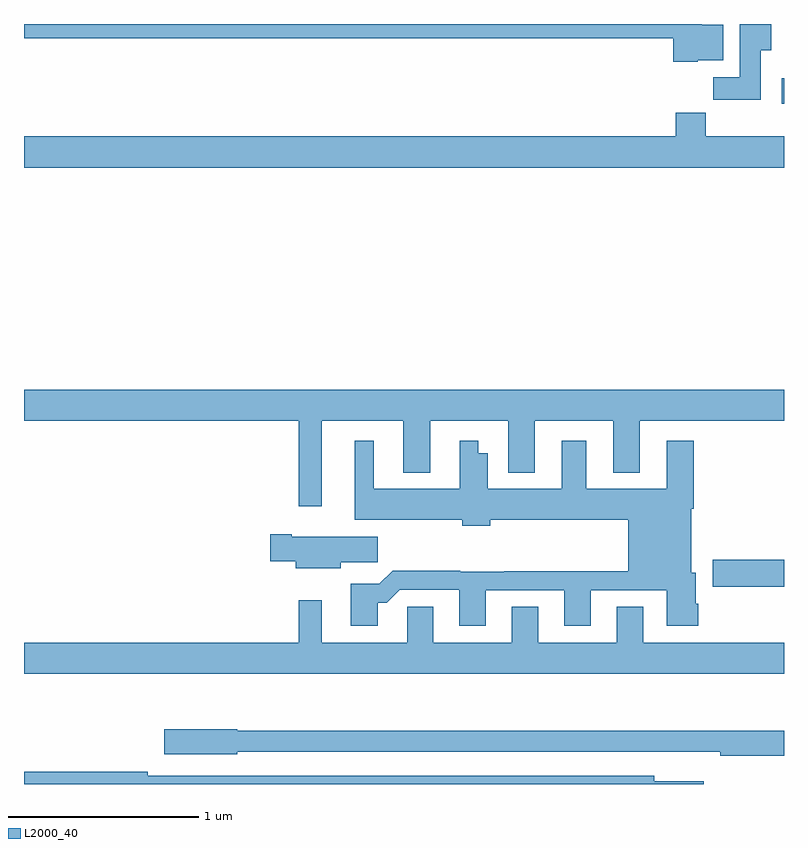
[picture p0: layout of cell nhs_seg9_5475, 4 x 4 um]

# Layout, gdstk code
import gdstk
lib = gdstk.Library(unit=1e-6, precision=1e-09)
def R(c, l, rs):  # rectangles x0, y0, x1, y1
    for r in rs: c.add(gdstk.rectangle(r[:2], r[2:], *l))
def P(c, l, *ps):  # polygons
    for p in ps: c.add(gdstk.Polygon(p, *l))
L2000_40 = (2000, 40)

nhs_seg9_5475 = lib.new_cell('nhs_seg9_5475')
R(nhs_seg9_5475, L2000_40, [(432.624,1203.538,433,1203.68), (432.987,1206.08,433,1206.214)])
P(nhs_seg9_5475, L2000_40, [(432.877,1206.361),(432.934,1206.361),(432.934,1206.5),(432.767,1206.5),(432.767,1206.22),(432.628,1206.22),(432.628,1206.102),(432.877,1206.102)],
  [(432.546,1206.308),(432.679,1206.308),(432.679,1206.496),(432.568,1206.496),(432.568,1206.5),(429,1206.5),(429,1206.424),(432.416,1206.424),(432.416,1206.302),(432.546,1206.302)],
  [(433,1205.908),(432.587,1205.908),(432.587,1206.032),(432.431,1206.032),(432.431,1205.908),(429,1205.908),(429,1205.744),(433,1205.744)],
  [(430.567,1204.412),(430.997,1204.412),(430.997,1204.139),(431.137,1204.139),(431.137,1204.412),(431.549,1204.412),(431.549,1204.139),(431.689,1204.139),(431.689,1204.412),(432.101,1204.412),(432.101,1204.139),(432.241,1204.139),(432.241,1204.412),(433,1204.412),(433,1204.576),(429,1204.576),(429,1204.412),(430.446,1204.412),(430.446,1203.963),(430.567,1203.963)],
  [(430.861,1203.455),(430.91,1203.455),(430.977,1203.522),(431.291,1203.522),(431.291,1203.333),(431.431,1203.333),(431.431,1203.519),(431.843,1203.519),(431.843,1203.333),(431.983,1203.333),(431.983,1203.519),(432.383,1203.519),(432.383,1203.333),(432.548,1203.333),(432.548,1203.449),(432.535,1203.449),(432.535,1203.612),(432.511,1203.612),(432.511,1203.95),(432.524,1203.95),(432.524,1204.306),(432.383,1204.306),(432.383,1204.054),(431.959,1204.054),(431.959,1204.306),(431.831,1204.306),(431.831,1204.054),(431.44,1204.054),(431.44,1204.24),(431.392,1204.24),(431.392,1204.306),(431.294,1204.306),(431.294,1204.054),(430.84,1204.054),(430.84,1204.306),(430.742,1204.306),(430.742,1203.89),(431.306,1203.89),(431.306,1203.86),(431.453,1203.86),(431.453,1203.89),(432.179,1203.89),(432.179,1203.62),(431.527,1203.62),(431.527,1203.618),(431.295,1203.618),(431.295,1203.623),(430.94,1203.623),(430.87,1203.553),(430.721,1203.553),(430.721,1203.333),(430.861,1203.333)],
  [(430.666,1203.667),(430.861,1203.667),(430.861,1203.802),(430.408,1203.802),(430.408,1203.815),(430.296,1203.815),(430.296,1203.673),(430.43,1203.673),(430.43,1203.635),(430.666,1203.635)],
  [(433,1203.244),(432.259,1203.244),(432.259,1203.434),(432.119,1203.434),(432.119,1203.244),(431.707,1203.244),(431.707,1203.434),(431.567,1203.434),(431.567,1203.244),(431.155,1203.244),(431.155,1203.434),(431.016,1203.434),(431.016,1203.244),(430.567,1203.244),(430.567,1203.466),(430.446,1203.466),(430.446,1203.244),(429,1203.244),(429,1203.08),(433,1203.08)],
  [(433,1202.779),(430.122,1202.779),(430.122,1202.787),(429.738,1202.787),(429.738,1202.657),(430.122,1202.657),(430.122,1202.67),(432.412,1202.67),(432.412,1202.669),(432.664,1202.669),(432.664,1202.65),(433,1202.65)],
  [(432.577,1202.515),(432.316,1202.515),(432.316,1202.544),(429.65,1202.544),(429.65,1202.564),(429,1202.564),(429,1202.5),(432.577,1202.5)])

lib.write_gds('nhs_seg9_5475.gds')
